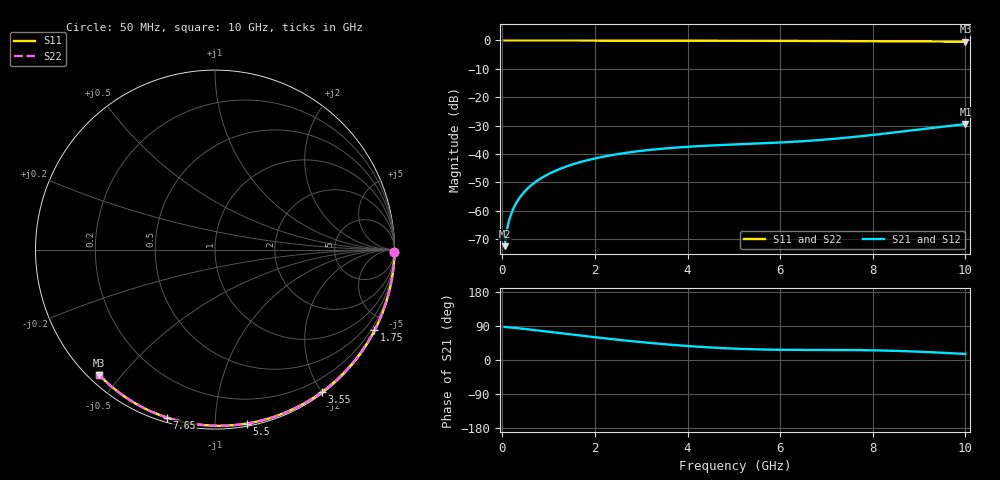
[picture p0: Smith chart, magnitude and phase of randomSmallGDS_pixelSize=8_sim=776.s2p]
! freq	dB(S11)	phase(S11)	dB(S12)	phase(S12)
!  dB(S21)	phase(S21)	dB(S22)	phase(S22)
!S-par simulation data
#  GHz  S  DB  R 50
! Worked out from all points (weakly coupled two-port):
!   200 points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, 50 MHz to 10 GHz, reference 50 ohm
!   highest |S21| = -29.46 dB at 10 GHz (marker M1); lowest = -72.5 dB at 50 MHz (marker M2)
!   lowest |S11| = -0.4 dB at 10 GHz (marker M3), VSWR 39.56, Z = 1.51 - j21.9 ohm
!   |S11| at or under -10 dB: nowhere
!   |S22| runs from -0.4 to 0.0 dB; largest |S21 - S12| = 0
!   S11 on the Smith chart (normalised r, x): 50 MHz: open; 1.75 GHz: 0.04, -4.19; 3.55 GHz: 0.02, -2.00; 5.5 GHz: 0.02, -1.20; 7.65 GHz: 0.02, -0.75; 10 GHz: 0.03, -0.44
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0.05  -0.00 -0.8  -72.52 87.2  -72.52 87.2  -0.00 -0.8
0.1  -0.00 -1.6  -66.71 86.5  -66.71 86.5  -0.00 -1.6
0.15  -0.00 -2.3  -63.28 86.1  -63.28 86.1  -0.00 -2.3
0.2  -0.00 -3.1  -60.83 85.7  -60.83 85.7  -0.00 -3.1
0.25  -0.00 -3.9  -58.91 85.1  -58.91 85.1  -0.00 -3.9
0.35  -0.00 -5.5  -56.02 83.8  -56.02 83.8  -0.00 -5.5
0.5  -0.01 -7.8  -52.96 81.8  -52.96 81.8  -0.01 -7.8
0.7  -0.01 -10.9  -50.08 78.9  -50.08 78.9  -0.01 -10.9
1  -0.02 -15.5  -47.08 74.4  -47.08 74.4  -0.02 -15.5
1.35  -0.03 -20.8  -44.62 69.3  -44.62 69.3  -0.03 -20.8
1.75  -0.03 -26.9  -42.59 63.5  -42.59 63.5  -0.03 -26.9
2.5  -0.05 -38.0  -40.04 53.4  -40.04 53.4  -0.05 -38.0
3.4  -0.07 -51.0  -38.24 42.7  -38.24 42.7  -0.07 -51.0
3.55  -0.07 -53.2  -38.02 41.2  -38.02 41.2  -0.07 -53.2
4.3  -0.09 -63.6  -37.20 34.5  -37.20 34.5  -0.09 -63.6
5.05  -0.11 -73.6  -36.64 29.8  -36.64 29.8  -0.11 -73.6
5.5  -0.13 -79.5  -36.34 28.1  -36.34 28.1  -0.13 -79.5
6.7  -0.18 -94.6  -35.29 26.5  -35.29 26.5  -0.18 -94.6
7.65  -0.24 -106.0  -33.92 26.1  -33.92 26.1  -0.24 -106.0
8.35  -0.29 -114.1  -32.65 24.6  -32.65 24.6  -0.29 -114.1
9.15  -0.35 -123.2  -31.10 21.2  -31.10 21.2  -0.35 -123.2
10  -0.44 -132.7  -29.46 15.9  -29.46 15.9  -0.44 -132.7
